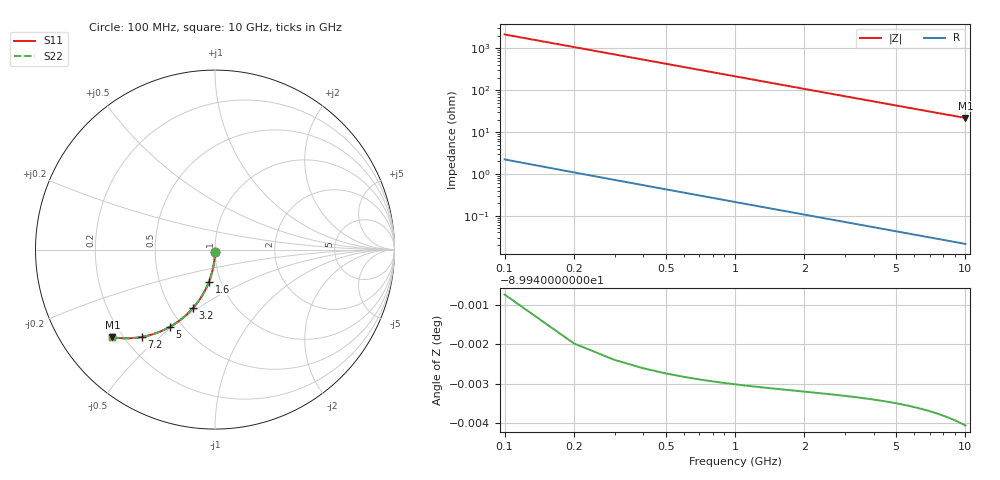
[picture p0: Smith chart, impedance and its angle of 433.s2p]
# Hz S RI R 50.00
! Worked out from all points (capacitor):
!   100 points, 100 MHz to 10 GHz, reference 50 ohm
!   read as one part in shunt: C = 740 fF near 100 MHz
!   lowest |Z| = 21.8 ohm at 10 GHz (marker M1)
!   S11 on the Smith chart (normalised r, x): 100 MHz: 1.00, -0.02; 1.6 GHz: 0.88, -0.32; 3.2 GHz: 0.65, -0.48; 5 GHz: 0.43, -0.49; 7.2 GHz: 0.27, -0.44; 10 GHz: 0.16, -0.36
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1e8  -0.000132 -0.0116  0.9998 -0.0117  0.9998 -0.0117  -0.000132 -0.0116
2e8  -0.000548 -0.0231  0.9994 -0.0233  0.9994 -0.0233  -0.000548 -0.0231
3e8  -0.00123 -0.0346  0.9987 -0.035  0.9987 -0.035  -0.00123 -0.0346
4e8  -0.00219 -0.0461  0.9978 -0.0466  0.9978 -0.0466  -0.00219 -0.0461
5e8  -0.0034 -0.0576  0.9966 -0.0582  0.9966 -0.0582  -0.0034 -0.0576
6e8  -0.00489 -0.069  0.9951 -0.0697  0.9951 -0.0697  -0.00489 -0.069
7e8  -0.00663 -0.0803  0.9933 -0.0812  0.9933 -0.0812  -0.00663 -0.0803
9e8  -0.0109 -0.1028  0.9891 -0.1039  0.9891 -0.1039  -0.0109 -0.1028
1.2e9  -0.0192 -0.1359  0.9808 -0.1374  0.9808 -0.1374  -0.0192 -0.1359
1.6e9  -0.0335 -0.1785  0.9665 -0.1805  0.9665 -0.1805  -0.0335 -0.1785
1.8e9  -0.042 -0.199  0.958 -0.2012  0.958 -0.2012  -0.042 -0.199
2.4e9  -0.0722 -0.2568  0.9278 -0.2597  0.9278 -0.2597  -0.0722 -0.2568
2.8e9  -0.0956 -0.2919  0.9043 -0.2953  0.9043 -0.2953  -0.0956 -0.2919
3.2e9  -0.1212 -0.324  0.8787 -0.3279  0.8787 -0.3279  -0.1212 -0.324
3.4e9  -0.1347 -0.3389  0.8653 -0.343  0.8653 -0.343  -0.1347 -0.3389
4.2e9  -0.1917 -0.3906  0.8083 -0.3957  0.8083 -0.3957  -0.1917 -0.3906
5e9  -0.2512 -0.4302  0.7487 -0.4363  0.7487 -0.4363  -0.2512 -0.4302
5.1e9  -0.2587 -0.4343  0.7413 -0.4405  0.7413 -0.4405  -0.2587 -0.4343
6.7e9  -0.3752 -0.4796  0.6247 -0.4878  0.6247 -0.4878  -0.3752 -0.4796
7.2e9  -0.4093 -0.4868  0.5906 -0.4957  0.5906 -0.4957  -0.4093 -0.4868
8.4e9  -0.4849 -0.4941  0.515 -0.5045  0.515 -0.5045  -0.4849 -0.4941
1e10  -0.5712 -0.4882  0.4287 -0.5006  0.4287 -0.5006  -0.5712 -0.4882
